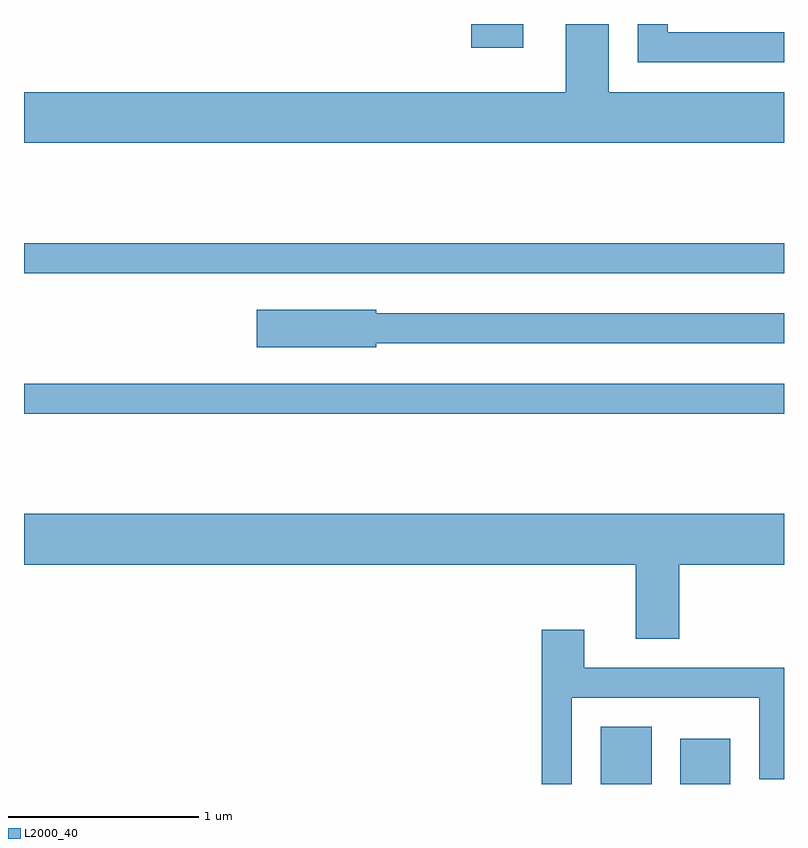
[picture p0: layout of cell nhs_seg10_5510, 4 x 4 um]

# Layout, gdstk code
import gdstk
lib = gdstk.Library(unit=1e-6, precision=1e-09)
def R(c, l, rs):  # rectangles x0, y0, x1, y1
    for r in rs: c.add(gdstk.rectangle(r[:2], r[2:], *l))
def P(c, l, *ps):  # polygons
    for p in ps: c.add(gdstk.Polygon(p, *l))
L2000_40 = (2000, 40)

nhs_seg10_5510 = lib.new_cell('nhs_seg10_5510')
R(nhs_seg10_5510, L2000_40, [(350.646,2130.522,350.914,2130.824), (351.066,2130.522,351.329,2130.759), (347.611,2132.471,351.611,2132.629), (347.611,2133.211,351.611,2133.369), (349.966,2134.396,350.238,2134.522)])
P(nhs_seg10_5510, L2000_40, [(351.611,2134.164),(350.689,2134.164),(350.689,2134.522),(350.461,2134.522),(350.461,2134.164),(347.611,2134.164),(347.611,2133.896),(351.611,2133.896)],
  [(351.611,2134.479),(350.999,2134.479),(350.999,2134.522),(350.841,2134.522),(350.841,2134.321),(351.611,2134.321)],
  [(349.464,2132.841),(351.611,2132.841),(351.611,2132.999),(349.464,2132.999),(349.464,2133.019),(348.836,2133.019),(348.836,2132.821),(349.464,2132.821)],
  [(351.059,2131.676),(351.611,2131.676),(351.611,2131.944),(347.611,2131.944),(347.611,2131.676),(350.831,2131.676),(350.831,2131.286),(351.059,2131.286)],
  [(350.494,2130.976),(351.481,2130.976),(351.481,2130.548),(351.611,2130.548),(351.611,2131.134),(350.559,2131.134),(350.559,2131.334),(350.336,2131.334),(350.336,2130.522),(350.494,2130.522)])

lib.write_gds('nhs_seg10_5510.gds')
